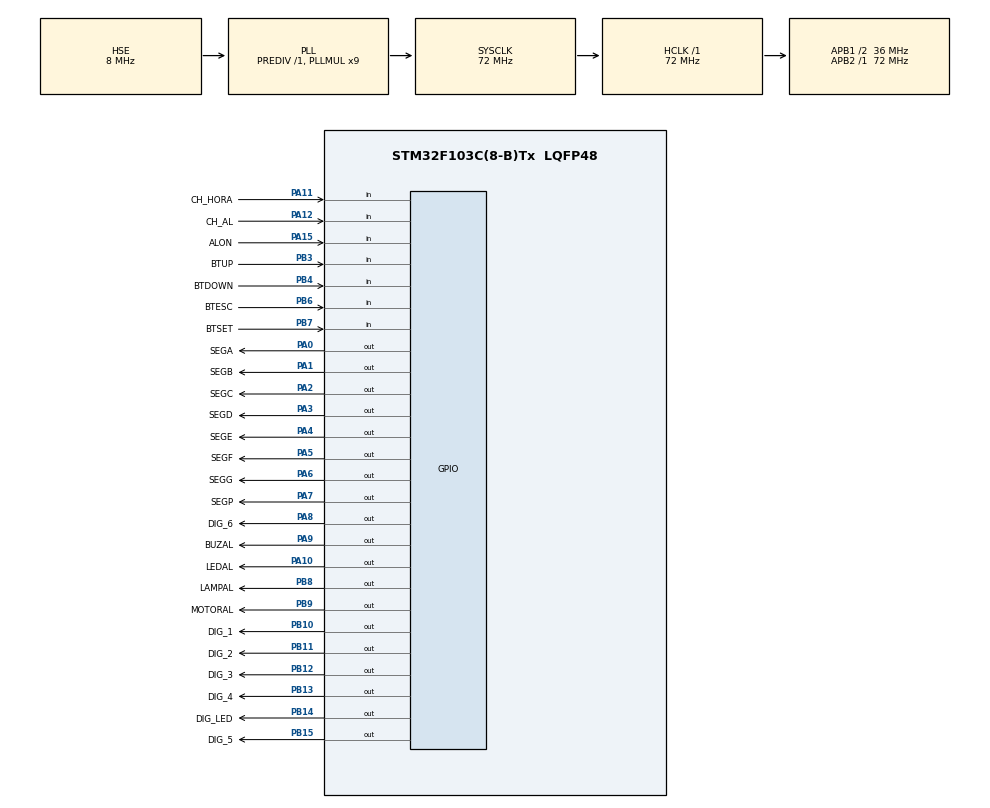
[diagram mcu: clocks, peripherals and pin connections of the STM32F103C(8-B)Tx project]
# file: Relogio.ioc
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Mcu.Family=STM32F1
Mcu.Name=STM32F103C(8-B)Tx
Mcu.Package=LQFP48
NVIC.PriorityGroup=NVIC_PRIORITYGROUP_4
NVIC.RTC_Alarm_IRQn=true\:0\:0\:false\:false\:true\:true\:true
NVIC.RTC_IRQn=true\:0\:0\:false\:false\:true\:true\:true
NVIC.TIM2_IRQn=true\:0\:0\:false\:false\:true\:true\:true
PA0-WKUP.GPIO_Label=SEGA
PA0-WKUP.GPIO_ModeDefaultOutputPP=GPIO_MODE_OUTPUT_PP
PA0-WKUP.GPIO_PuPd=GPIO_PULLUP
PA0-WKUP.Signal=GPIO_Output
PA1.GPIO_Label=SEGB
PA1.GPIO_PuPd=GPIO_PULLUP
PA1.Signal=GPIO_Output
PA10.GPIO_Label=LEDAL
PA10.Signal=GPIO_Output
PA11.GPIO_Label=CH_HORA
PA11.GPIO_PuPd=GPIO_PULLUP
PA11.Signal=GPIO_Input
PA12.GPIO_Label=CH_AL
PA12.GPIO_PuPd=GPIO_PULLUP
PA12.Signal=GPIO_Input
PA13.Mode=Serial_Wire
PA13.Signal=SYS_JTMS-SWDIO
PA14.Mode=Serial_Wire
PA14.Signal=SYS_JTCK-SWCLK
PA15.GPIO_Label=ALON
PA15.GPIO_PuPd=GPIO_PULLUP
PA15.Signal=GPIO_Input
PA2.GPIO_Label=SEGC
PA2.GPIO_PuPd=GPIO_PULLUP
PA2.Signal=GPIO_Output
PA3.GPIO_Label=SEGD
PA3.GPIO_PuPd=GPIO_PULLUP
PA3.Signal=GPIO_Output
PA4.GPIO_Label=SEGE
PA4.GPIO_PuPd=GPIO_PULLUP
PA4.Signal=GPIO_Output
PA5.GPIO_Label=SEGF
PA5.GPIO_PuPd=GPIO_PULLUP
PA5.Signal=GPIO_Output
PA6.GPIO_Label=SEGG
PA6.GPIO_PuPd=GPIO_PULLUP
PA6.Signal=GPIO_Output
PA7.GPIO_Label=SEGP
PA7.GPIO_PuPd=GPIO_PULLUP
PA7.Signal=GPIO_Output
PA8.GPIO_Label=DIG_6
PA8.GPIO_PuPd=GPIO_PULLUP
PA8.Signal=GPIO_Output
PA9.GPIO_Label=BUZAL
PA9.GPIO_PuPd=GPIO_PULLUP
PA9.Signal=GPIO_Output
PB10.GPIO_Label=DIG_1
PB10.Signal=GPIO_Output
PB11.GPIO_Label=DIG_2
PB11.Signal=GPIO_Output
PB12.GPIO_Label=DIG_3
PB12.Signal=GPIO_Output
PB13.GPIO_Label=DIG_4
PB13.Signal=GPIO_Output
PB14.GPIO_Label=DIG_LED
PB14.Signal=GPIO_Output
PB15.GPIO_Label=DIG_5
PB15.Signal=GPIO_Output
PB3.GPIO_Label=BTUP
PB3.GPIO_PuPd=GPIO_PULLUP
PB3.Signal=GPIO_Input
PB4.GPIO_Label=BTDOWN
PB4.GPIO_PuPd=GPIO_PULLUP
PB4.Signal=GPIO_Input
PB6.GPIO_Label=BTESC
PB6.GPIO_PuPd=GPIO_PULLUP
PB6.Signal=GPIO_Input
PB7.GPIO_Label=BTSET
PB7.GPIO_PuPd=GPIO_PULLUP
PB7.Signal=GPIO_Input
PB8.GPIO_Label=LAMPAL
PB8.Signal=GPIO_Output
PB9.GPIO_Label=MOTORAL
PB9.Signal=GPIO_Output
PC14-OSC32_IN.Mode=LSE-External-Oscillator
PC14-OSC32_IN.Signal=RCC_OSC32_IN
PC15-OSC32_OUT.Mode=LSE-External-Oscillator
PC15-OSC32_OUT.Signal=RCC_OSC32_OUT
PD0-OSC_IN.Mode=HSE-External-Oscillator
PD0-OSC_IN.Signal=RCC_OSC_IN
PD1-OSC_OUT.Mode=HSE-External-Oscillator
PD1-OSC_OUT.Signal=RCC_OSC_OUT
ProjectManager.HeapSize=0x200
ProjectManager.StackSize=0x400
ProjectManager.TargetToolchain=STM32CubeIDE
RCC.AHBFreq_Value=72000000
RCC.APB1CLKDivider=RCC_HCLK_DIV2
RCC.APB1Freq_Value=36000000
RCC.APB1TimFreq_Value=72000000
RCC.APB2Freq_Value=72000000
RCC.APB2TimFreq_Value=72000000
RCC.HCLKFreq_Value=72000000
RCC.PLLMUL=RCC_PLL_MUL9
RCC.PLLSourceVirtual=RCC_PLLSOURCE_HSE
RCC.RTCClockSelection=RCC_RTCCLKSOURCE_LSE
RCC.SYSCLKFreq_VALUE=72000000
RCC.SYSCLKSource=RCC_SYSCLKSOURCE_PLLCLK
RCC.USBFreq_Value=72000000
RTC.AutoPrediv=RTC_AUTO_1_SECOND
TIM2.AutoReloadPreload=TIM_AUTORELOAD_PRELOAD_DISABLE
TIM2.Period=999
TIM2.Prescaler=71
VP_RTC_VS_RTC_Activate.Mode=RTC_Enabled
VP_TIM2_VS_ClockSourceINT.Mode=Internal
board=custom

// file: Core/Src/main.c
/* USER CODE BEGIN Header */
/**
  ******************************************************************************
  * @file           : main.c
  * @brief          : Main program body
  ******************************************************************************
  * @attention
  *
  * <h2><center>&copy; Copyright (c) 2020 STMicroelectronics.
  * All rights reserved.</center></h2>
  *
  * This software component is licensed by ST under BSD 3-Clause license,
  * the "License"; You may not use this file except in compliance with the
  * License. You may obtain a copy of the License at:
  *                        opensource.org/licenses/BSD-3-Clause
  *
  ******************************************************************************
  * Projeto: Relogio para Surdos
  *
  * Programador: Jose Flavio Lyra Zampini
  *
  * Atualização
  * 05/08/2021 - Incluido Motor Vibracall
  * 04/01/2021 - Incluido Chave para Ajuste da Hora e Alarme
  * 03/12/2020 - Implementado Modulo de Rele
  * 28/11/2020 - Implemeentado Buzzer de Alarme
  * 27/11/2020 - Implementação do ajuste do alarme e led piscando
  * 23/11/2020 - Implementado o ajuste das horas e pisca ledcomuns
  * 23/10/2020 - Implementado relogio com segundos
  * 10/11/2020 - Implementado botões do menu
  ******************************************************************************
  */
/* USER CODE END Header */
#include "main.h"

/* USER CODE BEGIN Includes */
#include "menu.h"
/* USER CODE END Includes */

RTC_HandleTypeDef hrtc;

TIM_HandleTypeDef htim2;

/* USER CODE BEGIN PV */
RTC_TimeTypeDef clkTime;
RTC_AlarmTypeDef sAlarm;

uint8_t Horas, Minutos, Segundos;
uint8_t NovaHora, NovaMin, NovoSeg;
uint8_t AlHora, AlMin, AlSeg;
uint8_t alarmflag = 0;

int Dez_Hora=0, Uni_Hora=0, Dez_Minuto=0, Uni_Minuto=0, Dez_Segundos=0, Uni_Segundos=0;

/* USER CODE END PV */

void SystemClock_Config(void);
static void MX_GPIO_Init(void);
static void MX_RTC_Init(void);
static void MX_TIM2_Init(void);

/* USER CODE BEGIN 0 */

/*----------------------------------------------------------
Configuração do display de 7 segmentos e pinos de conexão
     A
    ----
  F|    |B
   |  G |
    ----
  E|    |C
   |    |
    ---- *p
      D
Segmento A - Conectado pino 15 do 595
Segmento B - Conectado pino 1 do 595
Segmento C - Conectado pino 2 do 595
Segmento D - Conectado pino 3 do 595
Segmento E - Conectado pino 4 do 595
Segmento F - Conectado pino 5 do 595
Segmento G - Conectado pino 6 do 595
Segmento p - Conectado pino 7 do 595

Sequencia do byte: A B C D E F G p

Essa codifica vai de 0 a 9. Mas varias letras pode ser desenhadas, assim como outros caracteres  básicos
------------------------------------------------------------*/

const unsigned char font[22] =
{
		0x3F,    /* 0 */
		0x06,    /* 1 */
		0x5B,    /* 2 */
		0x4F,    /* 3 */
		0x66,    /* 4 */
		0x6D,    /* 5 */
		0x7D,    /* 6 */
		0x07,    /* 7 */
		0x7F,    /* 8 */
		0x6F,    /* 9 */
		0x77,    /* A */
		0x7C,    /* B */
		0x39,    /* C */
		0x5E,    /* D */
		0x79,    /* E */
		0x71,    /* F */
		0x37,	/* M */
		0x39,	/* E */
		0x54,	/* N */
		0x1C,	/* U */
		0X80,	/* Ponto */
		0x00	/* Apagado */
};

const uint8_t Segmentos[8]=
{
		0x01,	//seg A
		0x02,	//seg B
		0x04,	//seg C
		0x08,	//seg D
		0x10,	//seg E
		0x20,	//seg F
		0x40,	//seg G
		0x80	//seg P
};

#if ComSeg
uint8_t buffer[7];
#else
uint8_t buffer[5];
#endif
int mostra;

int curDigit = 0;
int testeok;
int Set_Hora, Set_Min, CH_HORA, CH_AL, ALON, BTUP, BTDOWN, BTESC, BTSET;
int DspPisca;

void PrintNumber(uint32_t number)
{
	int conver;
#if !ComSeg
	// Check max and min
	if (number > 9999)
	{
		number = 9999;
	}

	// Convert integer to bcd digits

	//buffer[4] = 0x80;

	conver = number / 1000;
	buffer[3] = font[conver];
	conver = number % 1000/100;
	buffer[2] = font[conver];
	conver = number % 100/10;
	buffer[1] = font[conver];
	conver = number % 10;
	buffer[0] = font[conver];
#else
	// Check max and min
	if (number > 999999)
	{
		number = 999999;
	}

	// Convert integer to bcd digits

	//buffer[6] = 0x80;

	conver = number / 100000;
	buffer[5] = font[conver];
	conver = number % 100000/10000;
	buffer[4] = font[conver];
	conver = number % 10000/1000;
	buffer[3] = font[conver];
	conver = number % 1000/100;
	buffer[2] = font[conver];
	conver = number % 100/10;
	buffer[1] = font[conver];
	conver = number % 10;
	buffer[0] = font[conver];
#endif
}	//end PrintNumber

void PrintRelogio(uint8_t tempo)
{
#if !ComSeg
	Dez_Hora = Horas / 10;
	buffer[3] = font[Dez_Hora];
	Uni_Hora = Horas % 10;
	buffer[2] = font[Uni_Hora];
	Dez_Minuto = Minutos /10;
	buffer[1] = font[Dez_Minuto];
	Uni_Minuto = Minutos % 10;
	buffer[0] = font[Uni_Minuto];
#else
	Dez_Hora = Horas / 10;
	buffer[5] = font[Dez_Hora];
	Uni_Hora = Horas % 10;
	buffer[4] = font[Uni_Hora];
	Dez_Minuto = Minutos /10;
	buffer[3] = font[Dez_Minuto];
	Uni_Minuto = Minutos % 10;
	buffer[2] = font[Uni_Minuto];
	Dez_Segundos = Segundos /10;
	buffer[1] = font[Dez_Segundos];
	Uni_Segundos = Segundos % 10;
	buffer[0] = font[Uni_Segundos];
#endif
}

void MenuHora(void){
	//seleciona hora
	buffer[5] = 0x76;	//H
	buffer[4] = 0x3F;	//O

	//testando hora
	NovaHora = clkTime.Hours;
	NovaMin = clkTime.Minutes;

	buffer[3] = font[NovaHora / 10];
	buffer[2] = font[NovaHora % 10];
	buffer[1] = font[NovaMin / 10];
	buffer[0] = font[NovaMin % 10];

	while (CH_HORA == 0)
	{
		CH_HORA = HAL_GPIO_ReadPin(CH_HORA_GPIO_Port, CH_HORA_Pin);
		HAL_Delay(75);
		if (CH_HORA == 1) {

			clkTime.Hours = NovaHora;
			clkTime.Minutes = NovaMin;
			clkTime.Seconds = 0x00;

			if(HAL_RTC_SetTime(&hrtc, &clkTime, RTC_FORMAT_BIN) != HAL_OK){
				Error_Handler();
			}
			break;
		}

		//acerta hora
		Set_Hora = 1;
		DspPisca = 1;
		while (Set_Hora){
			BTUP = HAL_GPIO_ReadPin(BTUP_GPIO_Port, BTUP_Pin);
			HAL_Delay(75);
			if (BTUP == 0){
				NovaHora ++;
				if (NovaHora == 24){
					NovaHora = 0;
				}
				BTUP = 1;
			}

			BTDOWN = HAL_GPIO_ReadPin(BTDOWN_GPIO_Port, BTDOWN_Pin);
			HAL_Delay(75);
			if (BTDOWN == 0) {
				NovaHora --;
				if (NovaHora == 0 || NovaHora == 255) {
					NovaHora = 23;
				}
				BTDOWN = 1;
			}

			if (DspPisca) {
				buffer[3] = font[NovaHora / 10];
				buffer[2] = font[NovaHora % 10];
				HAL_Delay(25);
				DspPisca = 0;
			} else {
				buffer[3] = 0x00;	//Apagado
				buffer[2] = 0x00;	//Apagado
				HAL_Delay(25);
				DspPisca = 1;
			}

			BTSET = HAL_GPIO_ReadPin(BTSET_GPIO_Port, BTSET_Pin);
			HAL_Delay(75);
			if (!BTSET) {
				Set_Hora = 0;
			}
		}

		// acerta minuto
		Set_Min = 1;
		DspPisca = 1;
		while (Set_Min){
			BTUP = HAL_GPIO_ReadPin(BTUP_GPIO_Port, BTUP_Pin);
			HAL_Delay(75);
			if (BTUP == 0){
				NovaMin ++;
				if (NovaMin == 59){
					NovaMin = 0;
				}
				BTUP = 1;
			}

			BTDOWN = HAL_GPIO_ReadPin(BTDOWN_GPIO_Port, BTDOWN_Pin);
			HAL_Delay(75);
			if (BTDOWN == 0) {
				NovaMin --;
				if (NovaMin == 0 || NovaMin == 255) {
					NovaMin = 59;
				}
				BTDOWN = 1;
			}

			if (DspPisca) {
				buffer[1] = font[NovaMin / 10];
				buffer[0] = font[NovaMin % 10];
				HAL_Delay(50);
				DspPisca = 0;
			} else {
				buffer[1] = 0x00;		//Apagado
				buffer[0] = 0x00;		//Apagado
				HAL_Delay(50);
				DspPisca = 1;
			}

			BTSET = HAL_GPIO_ReadPin(BTSET_GPIO_Port, BTSET_Pin);
			HAL_Delay(75);
			if (!BTSET) {
				Set_Min = 0;
			}
		}
	}
}

void MenuAlarme(void){
	//seleciona alarme
	buffer[5] = 0x77;	//mostra letra A
	buffer[4] = 0x38;	//mostra letra L

	//testando alarme
	AlHora = sAlarm.AlarmTime.Hours;
	AlMin = sAlarm.AlarmTime.Minutes;

	buffer[3] = font[AlHora / 10];
	buffer[2] = font[AlHora % 10];
	buffer[1] = font[AlMin / 10];
	buffer[0] = font[AlMin % 10];

	while (CH_AL == 0)
	{
		CH_AL = HAL_GPIO_ReadPin(CH_AL_GPIO_Port, CH_AL_Pin);
		HAL_Delay(75);
		if (CH_AL == 1) {
			sAlarm.AlarmTime.Hours = AlHora;
			sAlarm.AlarmTime.Minutes = AlMin;
			sAlarm.AlarmTime.Seconds = 0x00;
			sAlarm.Alarm = RTC_ALARM_A;
			if (HAL_RTC_SetAlarm_IT(&hrtc, &sAlarm, RTC_FORMAT_BIN) != HAL_OK){
				Error_Handler();
			}
			break;
		}

		//acerta hora do alarme
		Set_Hora = 1;
		DspPisca = 1;
		while (Set_Hora){
			BTUP = HAL_GPIO_ReadPin(BTUP_GPIO_Port, BTUP_Pin);
			HAL_Delay(75);
			if (BTUP == 0){
				AlHora ++;
				if (AlHora == 24){
					AlHora = 0;
				}
				BTUP = 1;
			}

			BTDOWN = HAL_GPIO_ReadPin(BTDOWN_GPIO_Port, BTDOWN_Pin);
			HAL_Delay(75);
			if (BTDOWN == 0){
				AlHora --;
				if (AlHora == 0 || AlHora == 255){
					AlHora = 23;
				}
				BTDOWN = 1;
			}

			if (DspPisca){
				buffer[3] = font[AlHora / 10];
				buffer[2] = font[AlHora % 10];
				HAL_Delay(50);
				DspPisca = 0;
			} else {
				buffer[3] = 0x00;		//apaga display
				buffer[2] = 0x00;
				HAL_Delay(50);
				DspPisca = 1;
			}

			BTSET = HAL_GPIO_ReadPin(BTSET_GPIO_Port, BTSET_Pin);
			HAL_Delay(75);
			if (!BTSET){
				Set_Hora = 0;
			}
		}

		//acerta minuto do alarme
		Set_Min = 1;
		DspPisca = 1;
		while (Set_Min){
			BTUP = HAL_GPIO_ReadPin(BTUP_GPIO_Port, BTUP_Pin);
			HAL_Delay(75);
			if (BTUP == 0){
				AlMin ++;
				if (AlMin == 59){
					AlMin = 0;
				}
				BTUP = 1;
			}

			BTDOWN = HAL_GPIO_ReadPin(BTDOWN_GPIO_Port, BTDOWN_Pin);
			HAL_Delay(75);
			if (BTDOWN == 0){
				AlMin --;
				if (AlMin == 0 || AlMin == 255){
					AlMin = 59;
				}
				BTDOWN = 1;
			}

			if(DspPisca){
				buffer[1] = font[AlMin / 10];
				buffer[0] = font[AlMin % 10];
				HAL_Delay(50);
				DspPisca = 0;
			} else {
				buffer[1] = 0x00;		//apaga display
				buffer[0] = 0x00;
				HAL_Delay(50);
				DspPisca = 1;
			}

			BTSET = HAL_GPIO_ReadPin(BTSET_GPIO_Port, BTSET_Pin);
			HAL_Delay(75);
			if (!BTSET) {
				Set_Min = 0;
			}
		}
	}
}

void HAL_RTC_AlarmAEventCallback(RTC_HandleTypeDef *hrtc)
{
	alarmflag = 1;
}

void Alarm_On(void)
{
	HAL_GPIO_WritePin(BUZAL_GPIO_Port, BUZAL_Pin, GPIO_PIN_SET);
	HAL_GPIO_WritePin(LAMPAL_GPIO_Port, LAMPAL_Pin, GPIO_PIN_SET);
	HAL_GPIO_WritePin(MOTORAL_GPIO_Port, MOTORAL_Pin, GPIO_PIN_SET);
}

void Alarm_Off(void)
{
	HAL_GPIO_WritePin(BUZAL_GPIO_Port, BUZAL_Pin, GPIO_PIN_RESET);
	HAL_GPIO_WritePin(LAMPAL_GPIO_Port, LAMPAL_Pin, GPIO_PIN_RESET);
	HAL_GPIO_WritePin(MOTORAL_GPIO_Port, MOTORAL_Pin, GPIO_PIN_RESET);
	alarmflag = 0;
}

/* USER CODE END 0 */

int main(void)
{

  /* MCU Configuration--------------------------------------------------------*/

  /* Reset of all peripherals, Initializes the Flash interface and the Systick. */
  HAL_Init();

  /* Configure the system clock */
  SystemClock_Config();

  /* Initialize all configured peripherals */
  MX_GPIO_Init();
  MX_RTC_Init();
  MX_TIM2_Init();
  /* USER CODE BEGIN 2 */

	//inicializa timer 2
	HAL_TIM_Base_Start_IT(&htim2);

	HAL_RTC_Init(&hrtc);
	HAL_RTCEx_SetSecond_IT(&hrtc);

	//inicializa timer 4
	//HAL_TIM_Base_Start(&htim4);
	//HAL_TIM_PWM_Start(&htim4, TIM_CHANNEL_1);		//start sinal PWMno pino PB6

  /* USER CODE END 2 */

  /* Infinite loop */
  /* USER CODE BEGIN WHILE */

  while (1)
  {
#if !Relogio
	  int cont;

	  //	  testeok = HAL_GPIO_ReadPin(CHALON_GPIO_Port, CHALON_Pin);

	  //	  if (testeok == 0){
	  for (cont = 0; cont <= 7; cont++){
		  GPIOA -> ODR = Segmentos[cont];
		  HAL_Delay(500);
	  } //for seg
	  //	  }

	  testeok = 1;

	  for (cont = 0; cont < 990000; cont=cont+555) {
		  PrintNumber(cont);
		  HAL_Delay(50);
		  //			testeok = HAL_GPIO_ReadPin(BTSET_GPIO_Port, BTSET_Pin);
		  //			if (testeok == 0) break;
	  }

#if !ComSeg
	  PrintNumber(2175);
	  HAL_Delay(500);

	  PrintNumber(7520);
	  HAL_Delay(500);

#else
	  PrintNumber(123456);
	  HAL_Delay(500);

	  PrintNumber(789012);
	  HAL_Delay(500);
#endif
	  testeok = 0;

#else

	  HAL_RTC_GetTime(&hrtc, &clkTime, RTC_FORMAT_BIN);
	  Horas = clkTime.Hours;
	  Minutos = clkTime.Minutes;
#if ComSeg
	  Segundos = clkTime.Seconds;
	  if (!(Segundos % 2)) {
		  buffer[6] = 0x80;
	  }else buffer[6] = 0x00;
	  PrintRelogio(Segundos);
#endif
	  PrintRelogio(Minutos);
	  PrintRelogio(Horas);

	  //Verifica botao Hora
	  if (HAL_GPIO_ReadPin(CH_HORA_GPIO_Port, CH_HORA_Pin) == GPIO_PIN_RESET){
		  HAL_Delay(125);
		  CH_HORA = 0;
		  MenuHora();
	  }

	  //verifica botao de Alarme
	  if (HAL_GPIO_ReadPin(CH_AL_GPIO_Port, CH_AL_Pin) == GPIO_PIN_RESET){
		  HAL_Delay(125);
		  CH_AL = 0;
		  MenuAlarme();
	  }

	  //Alarme ligado
	  ALON = HAL_GPIO_ReadPin(ALON_GPIO_Port, ALON_Pin);
	  if (ALON == 0){
		  HAL_GPIO_WritePin(LEDAL_GPIO_Port, LEDAL_Pin, GPIO_PIN_SET);		//Led Alarme Ativado
	  } else {
		  HAL_GPIO_WritePin(LEDAL_GPIO_Port, LEDAL_Pin, GPIO_PIN_RESET);	//Led Alarme Desativado
	  }

	  if (alarmflag){
		  if (ALON == 0){
			  Alarm_On();
		  }
	  }

	  if (HAL_GPIO_ReadPin(BTESC_GPIO_Port, BTESC_Pin) == GPIO_PIN_RESET){
		  Alarm_Off();
	  }
#endif	//relogio

    /* USER CODE END WHILE */

  }
}

void SystemClock_Config(void)
{
  RCC_OscInitTypeDef RCC_OscInitStruct = {0};
  RCC_ClkInitTypeDef RCC_ClkInitStruct = {0};
  RCC_PeriphCLKInitTypeDef PeriphClkInit = {0};

  /** Initializes the RCC Oscillators according to the specified parameters
  * in the RCC_OscInitTypeDef structure.
  */
  RCC_OscInitStruct.OscillatorType = RCC_OSCILLATORTYPE_HSE|RCC_OSCILLATORTYPE_LSE;
  RCC_OscInitStruct.HSEState = RCC_HSE_ON;
  RCC_OscInitStruct.HSEPredivValue = RCC_HSE_PREDIV_DIV1;
  RCC_OscInitStruct.LSEState = RCC_LSE_ON;
  RCC_OscInitStruct.HSIState = RCC_HSI_ON;
  RCC_OscInitStruct.PLL.PLLState = RCC_PLL_ON;
  RCC_OscInitStruct.PLL.PLLSource = RCC_PLLSOURCE_HSE;
  RCC_OscInitStruct.PLL.PLLMUL = RCC_PLL_MUL9;
  if (HAL_RCC_OscConfig(&RCC_OscInitStruct) != HAL_OK)
  {
    Error_Handler();
  }
  /** Initializes the CPU, AHB and APB buses clocks
  */
  RCC_ClkInitStruct.ClockType = RCC_CLOCKTYPE_HCLK|RCC_CLOCKTYPE_SYSCLK
                              |RCC_CLOCKTYPE_PCLK1|RCC_CLOCKTYPE_PCLK2;
  RCC_ClkInitStruct.SYSCLKSource = RCC_SYSCLKSOURCE_PLLCLK;
  RCC_ClkInitStruct.AHBCLKDivider = RCC_SYSCLK_DIV1;
  RCC_ClkInitStruct.APB1CLKDivider = RCC_HCLK_DIV2;
  RCC_ClkInitStruct.APB2CLKDivider = RCC_HCLK_DIV1;

  if (HAL_RCC_ClockConfig(&RCC_ClkInitStruct, FLASH_LATENCY_2) != HAL_OK)
  {
    Error_Handler();
  }
  PeriphClkInit.PeriphClockSelection = RCC_PERIPHCLK_RTC;
  PeriphClkInit.RTCClockSelection = RCC_RTCCLKSOURCE_LSE;
  if (HAL_RCCEx_PeriphCLKConfig(&PeriphClkInit) != HAL_OK)
  {
    Error_Handler();
  }
}

static void MX_RTC_Init(void)
{

  /** Initialize RTC Only
  */
  hrtc.Instance = RTC;
  hrtc.Init.AsynchPrediv = RTC_AUTO_1_SECOND;
  hrtc.Init.OutPut = RTC_OUTPUTSOURCE_ALARM;
  if (HAL_RTC_Init(&hrtc) != HAL_OK)
  {
    Error_Handler();
  }

}

static void MX_TIM2_Init(void)
{

  TIM_ClockConfigTypeDef sClockSourceConfig = {0};
  TIM_MasterConfigTypeDef sMasterConfig = {0};

  htim2.Instance = TIM2;
  htim2.Init.Prescaler = 71;
  htim2.Init.CounterMode = TIM_COUNTERMODE_UP;
  htim2.Init.Period = 999;
  htim2.Init.ClockDivision = TIM_CLOCKDIVISION_DIV1;
  htim2.Init.AutoReloadPreload = TIM_AUTORELOAD_PRELOAD_DISABLE;
  if (HAL_TIM_Base_Init(&htim2) != HAL_OK)
  {
    Error_Handler();
  }
  sClockSourceConfig.ClockSource = TIM_CLOCKSOURCE_INTERNAL;
  if (HAL_TIM_ConfigClockSource(&htim2, &sClockSourceConfig) != HAL_OK)
  {
    Error_Handler();
  }
  sMasterConfig.MasterOutputTrigger = TIM_TRGO_RESET;
  sMasterConfig.MasterSlaveMode = TIM_MASTERSLAVEMODE_DISABLE;
  if (HAL_TIMEx_MasterConfigSynchronization(&htim2, &sMasterConfig) != HAL_OK)
  {
    Error_Handler();
  }

}

static void MX_GPIO_Init(void)
{
  GPIO_InitTypeDef GPIO_InitStruct = {0};

  /* GPIO Ports Clock Enable */
  __HAL_RCC_GPIOC_CLK_ENABLE();
  __HAL_RCC_GPIOD_CLK_ENABLE();
  __HAL_RCC_GPIOA_CLK_ENABLE();
  __HAL_RCC_GPIOB_CLK_ENABLE();

  /*Configure GPIO pin Output Level */
  HAL_GPIO_WritePin(GPIOA, SEGA_Pin|SEGB_Pin|SEGC_Pin|SEGD_Pin
                          |SEGE_Pin|SEGF_Pin|SEGG_Pin|SEGP_Pin
                          |DIG_6_Pin|BUZAL_Pin|LEDAL_Pin, GPIO_PIN_RESET);

  /*Configure GPIO pin Output Level */
  HAL_GPIO_WritePin(GPIOB, DIG_1_Pin|DIG_2_Pin|DIG_3_Pin|DIG_4_Pin
                          |DIG_LED_Pin|DIG_5_Pin|LAMPAL_Pin|MOTORAL_Pin, GPIO_PIN_RESET);

  /*Configure GPIO pins : SEGA_Pin SEGB_Pin SEGC_Pin SEGD_Pin
                           SEGE_Pin SEGF_Pin SEGG_Pin SEGP_Pin
                           DIG_6_Pin BUZAL_Pin */
  GPIO_InitStruct.Pin = SEGA_Pin|SEGB_Pin|SEGC_Pin|SEGD_Pin
                          |SEGE_Pin|SEGF_Pin|SEGG_Pin|SEGP_Pin
                          |DIG_6_Pin|BUZAL_Pin;
  GPIO_InitStruct.Mode = GPIO_MODE_OUTPUT_PP;
  GPIO_InitStruct.Pull = GPIO_PULLUP;
  GPIO_InitStruct.Speed = GPIO_SPEED_FREQ_LOW;
  HAL_GPIO_Init(GPIOA, &GPIO_InitStruct);

  /*Configure GPIO pins : DIG_1_Pin DIG_2_Pin DIG_3_Pin DIG_4_Pin
                           DIG_LED_Pin DIG_5_Pin LAMPAL_Pin MOTORAL_Pin */
  GPIO_InitStruct.Pin = DIG_1_Pin|DIG_2_Pin|DIG_3_Pin|DIG_4_Pin
                          |DIG_LED_Pin|DIG_5_Pin|LAMPAL_Pin|MOTORAL_Pin;
  GPIO_InitStruct.Mode = GPIO_MODE_OUTPUT_PP;
  GPIO_InitStruct.Pull = GPIO_NOPULL;
  GPIO_InitStruct.Speed = GPIO_SPEED_FREQ_LOW;
  HAL_GPIO_Init(GPIOB, &GPIO_InitStruct);

  /*Configure GPIO pin : LEDAL_Pin */
  GPIO_InitStruct.Pin = LEDAL_Pin;
  GPIO_InitStruct.Mode = GPIO_MODE_OUTPUT_PP;
  GPIO_InitStruct.Pull = GPIO_NOPULL;
  GPIO_InitStruct.Speed = GPIO_SPEED_FREQ_LOW;
  HAL_GPIO_Init(LEDAL_GPIO_Port, &GPIO_InitStruct);

  /*Configure GPIO pins : CH_HORA_Pin CH_AL_Pin ALON_Pin */
  GPIO_InitStruct.Pin = CH_HORA_Pin|CH_AL_Pin|ALON_Pin;
  GPIO_InitStruct.Mode = GPIO_MODE_INPUT;
  GPIO_InitStruct.Pull = GPIO_PULLUP;
  HAL_GPIO_Init(GPIOA, &GPIO_InitStruct);

  /*Configure GPIO pins : BTUP_Pin BTDOWN_Pin BTESC_Pin BTSET_Pin */
  GPIO_InitStruct.Pin = BTUP_Pin|BTDOWN_Pin|BTESC_Pin|BTSET_Pin;
  GPIO_InitStruct.Mode = GPIO_MODE_INPUT;
  GPIO_InitStruct.Pull = GPIO_PULLUP;
  HAL_GPIO_Init(GPIOB, &GPIO_InitStruct);

}

void Error_Handler(void)
{
}

/************************ (C) COPYRIGHT STMicroelectronics *****END OF FILE****/
